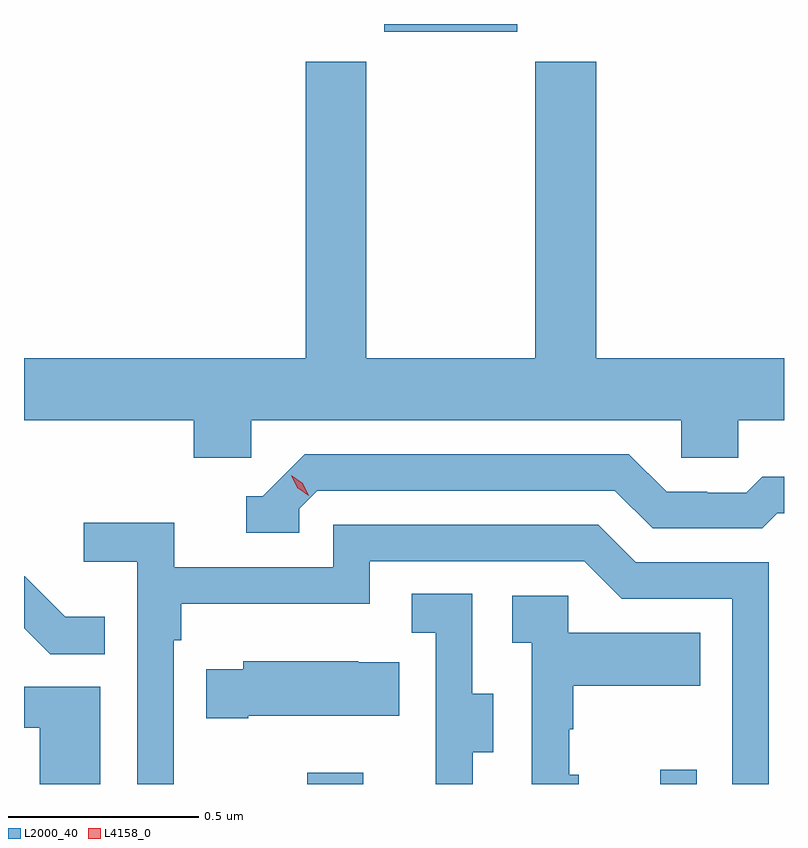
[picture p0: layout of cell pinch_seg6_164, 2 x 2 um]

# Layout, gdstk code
import gdstk
lib = gdstk.Library(unit=1e-6, precision=1e-09)
def R(c, l, rs):  # rectangles x0, y0, x1, y1
    for r in rs: c.add(gdstk.rectangle(r[:2], r[2:], *l))
def P(c, l, *ps):  # polygons
    for p in ps: c.add(gdstk.Polygon(p, *l))
L2000_40 = (2000, 40)
L4158_0 = (4158, 0)

pinch_seg6_164 = lib.new_cell('pinch_seg6_164')
R(pinch_seg6_164, L2000_40, [(1025.632,939.719,1025.779,939.748), (1026.56,939.719,1026.657,939.757), (1025.834,941.699,1026.184,941.719)])
P(pinch_seg6_164, L2000_40, [(1025.484,940.676),(1026.615,940.676),(1026.615,940.578),(1026.765,940.578),(1026.765,940.676),(1026.886,940.676),(1026.886,940.84),(1026.392,940.84),(1026.392,941.62),(1026.232,941.62),(1026.232,940.84),(1025.787,940.84),(1025.787,941.62),(1025.627,941.62),(1025.627,940.84),(1024.886,940.84),(1024.886,940.676),(1025.333,940.676),(1025.333,940.578),(1025.484,940.578)],
  [(1025.61,940.443),(1025.658,940.491),(1026.441,940.491),(1026.54,940.392),(1026.829,940.392),(1026.868,940.431),(1026.886,940.431),(1026.886,940.528),(1026.829,940.528),(1026.787,940.485),(1026.684,940.485),(1026.684,940.488),(1026.577,940.488),(1026.478,940.587),(1025.625,940.587),(1025.514,940.476),(1025.471,940.476),(1025.471,940.38),(1025.61,940.38)],
  [(1025.28,940.097),(1025.3,940.097),(1025.3,940.193),(1025.796,940.193),(1025.796,940.305),(1026.36,940.305),(1026.459,940.206),(1026.75,940.206),(1026.75,939.719),(1026.846,939.719),(1026.846,940.302),(1026.496,940.302),(1026.397,940.401),(1025.7,940.401),(1025.7,940.29),(1025.282,940.29),(1025.282,940.406),(1025.043,940.406),(1025.043,940.304),(1025.184,940.304),(1025.184,939.719),(1025.28,939.719)],
  [(1025.099,940.159),(1024.995,940.159),(1024.888,940.266),(1024.886,940.266),(1024.886,940.129),(1024.955,940.06),(1025.099,940.06)],
  [(1026.067,939.802),(1026.121,939.802),(1026.121,939.957),(1026.066,939.957),(1026.066,940.22),(1025.907,940.22),(1025.907,940.117),(1025.97,940.117),(1025.97,939.813),(1025.969,939.813),(1025.969,939.719),(1026.067,939.719)],
  [(1026.346,939.744),(1026.321,939.744),(1026.321,939.863),(1026.331,939.863),(1026.331,939.977),(1026.665,939.977),(1026.665,940.117),(1026.318,940.117),(1026.318,940.215),(1026.171,940.215),(1026.171,940.091),(1026.222,940.091),(1026.222,939.719),(1026.346,939.719)],
  [(1025.476,939.899),(1025.873,939.899),(1025.873,940.039),(1025.765,940.039),(1025.765,940.042),(1025.463,940.042),(1025.463,940.021),(1025.365,940.021),(1025.365,939.892),(1025.476,939.892)],
  [(1025.086,939.975),(1024.886,939.975),(1024.886,939.867),(1024.928,939.867),(1024.928,939.719),(1025.086,939.719)])
P(pinch_seg6_164, L4158_0, [(1025.635,940.478),(1025.605,940.498),(1025.589,940.531),(1025.589,940.531),(1025.589,940.531),(1025.62,940.511),(1025.635,940.478),(1025.635,940.478)])

lib.write_gds('pinch_seg6_164.gds')
